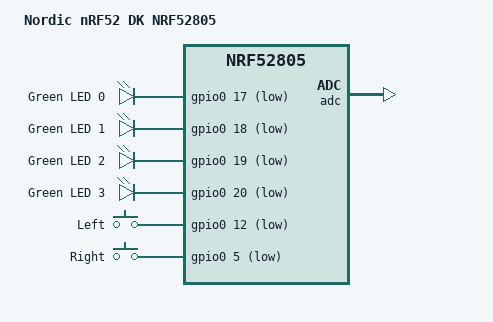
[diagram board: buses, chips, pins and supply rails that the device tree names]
/*
 * Copyright (c) 2020 Nordic Semiconductor ASA
 *
 * SPDX-License-Identifier: Apache-2.0
 */

/dts-v1/;
#include <nordic/nrf52805_caaa.dtsi>
#include "nrf52dk_nrf52805-pinctrl.dtsi"
#include <zephyr/dt-bindings/input/input-event-codes.h>

/ {
	model = "Nordic nRF52 DK NRF52805";
	compatible = "nordic,nrf52-dk-nrf52805";

	chosen {
		zephyr,console = &uart0;
		zephyr,shell-uart = &uart0;
		zephyr,uart-mcumgr = &uart0;
		zephyr,bt-mon-uart = &uart0;
		zephyr,bt-c2h-uart = &uart0;
		zephyr,sram = &sram0;
		zephyr,flash = &flash0;
		zephyr,code-partition = &slot0_partition;
	};

	leds {
		compatible = "gpio-leds";
		led0: led_0 {
			gpios = <&gpio0 17 GPIO_ACTIVE_LOW>;
			label = "Green LED 0";
		};
		led1: led_1 {
			gpios = <&gpio0 18 GPIO_ACTIVE_LOW>;
			label = "Green LED 1";
		};
		led2: led_2 {
			gpios = <&gpio0 19 GPIO_ACTIVE_LOW>;
			label = "Green LED 2";
		};
		led3: led_3 {
			gpios = <&gpio0 20 GPIO_ACTIVE_LOW>;
			label = "Green LED 3";
		};
	};

	buttons {
		compatible = "gpio-keys";
		status = "okay";
		button0: button_0 {
			label = "Left";
			gpios = <&gpio0 12 (GPIO_PULL_UP | GPIO_ACTIVE_LOW)>;
			zephyr,code = <INPUT_KEY_0>;
		};
		button1: button_1 {
			label = "Right";
			gpios = <&gpio0 5 (GPIO_PULL_UP | GPIO_ACTIVE_LOW)>;
			zephyr,code = <INPUT_KEY_1>;
		};
	};

	/* These aliases are provided for compatibility with samples */
	aliases {
		led0 = &led0;
		led1 = &led1;
		led2 = &led2;
		led3 = &led3;
		sw0 = &button0;
		sw1 = &button1;
		bootloader-led0 = &led0;
		mcuboot-button0 = &button0;
		mcuboot-led0 = &led0;
		watchdog0 = &wdt0;
	};
};

&adc {
	status = "okay";
};

&gpio0 {
	status = "okay";
};

&gpiote {
	status = "okay";
};

&uart0 {
	compatible = "nordic,nrf-uarte";
	status = "disabled";
	current-speed = <115200>;
	pinctrl-0 = <&uart0_default>;
	pinctrl-names = "default";
};

&flash0 {
	partitions {
		compatible = "fixed-partitions";
		#address-cells = <1>;
		#size-cells = <1>;

		boot_partition: partition@0 {
			label = "mcuboot";
			reg = <0x00000000 0xc000>;
		};
		slot0_partition: partition@c000 {
			label = "image-0";
			reg = <0x0000C000 0xe000>;
		};
		slot1_partition: partition@19000 {
			label = "image-1";
			reg = <0x00020000 0xe000>;
		};
		storage_partition: partition@28000 {
			label = "storage";
			reg = <0x00028000 0x00008000>;
		};
	};
};
